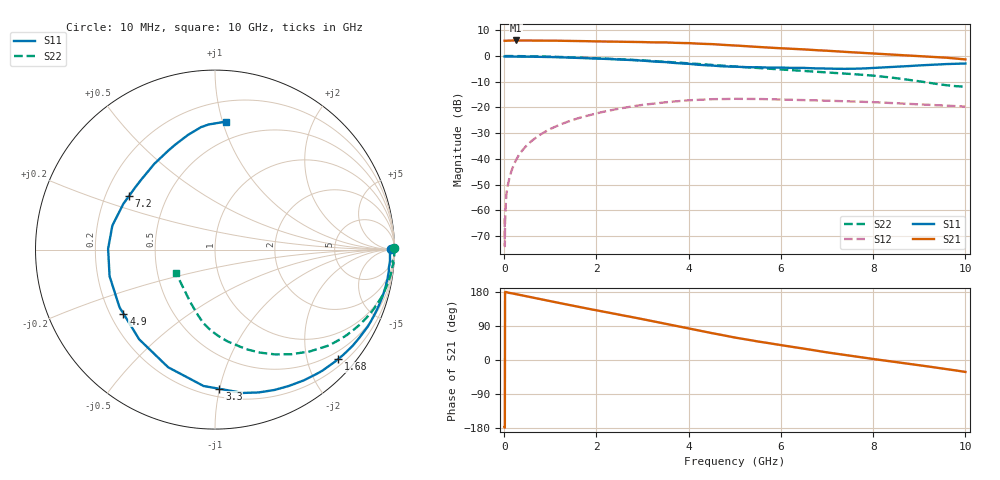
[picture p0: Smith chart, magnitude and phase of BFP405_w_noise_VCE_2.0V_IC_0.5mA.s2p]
! Infineon Technologies  Discrete & RF Semiconductors
! BFP405
! VCE =  2.0 V,  IC =  0.5 mA
! Common Emitter S-Parameters:  Jan 2016
# GHz  S  MA  R  50
!  f  S11  S21  S12  S22
! GHz  MAG  ANG  MAG  ANG  MAG  ANG  MAG  ANG
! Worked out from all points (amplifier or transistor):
!   233 points, 10 MHz to 10 GHz, reference 50 ohm
!   highest |S21| = 6.1 dB at 260 MHz (marker M1)
!   |S21| within 3 dB of that: start of sweep to 5.967 GHz
!   unconditionally stable (mu >= 1): 14.43 MHz to 15.23 MHz; 5.566 GHz to end of sweep
!   at 200 MHz: K = 0.00, MSG = 24.4 dB, |S12| = -42.7 dB
!   at 1.74 GHz: K = 0.17, MSG = 14.6 dB, |S12| = -23.5 dB
!   at 10 GHz: K = 2.42, MAG = 2.5 dB, |S12| = -19.7 dB
!   lowest NFmin = 0.78 dB at 900 MHz
!   S11 on the Smith chart (normalised r, x): 10 MHz: 85, +20; 1.68 GHz: 0.33, -2.59; 3.3 GHz: 0.26, -1.00; 4.9 GHz: 0.25, -0.30; 7.2 GHz: 0.30, +0.26; 10 GHz: 0.35, +1.02
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0.01  0.9779 0.3  1.982 -176.9  0.0007 -48.0  1 0.5
0.015  0.9784 0.0  1.979 -178.7  0.0002 10.7  0.9983 0.4
0.02  0.979 -0.2  1.979 179.4  0.0006 96.6  0.9966 0.2
0.03  0.9776 -0.6  1.979 179.3  0.0011 95.1  0.9976 -0.0
0.055  0.9751 -1.6  1.981 179.0  0.0023 93.4  0.9995 -0.5
0.135  0.9766 -3.2  1.999 176.8  0.005 89.0  0.9984 -2.0
0.26  0.9741 -6.2  2.008 173.7  0.0096 86.3  0.9914 -3.9
0.46  0.973 -11.0  2.001 168.8  0.0171 84.2  0.9916 -6.6
0.74  0.9662 -17.8  1.996 161.9  0.0279 80.2  0.9818 -10.6
1.14  0.9501 -27.8  1.986 151.8  0.0435 73.9  0.9629 -16.4
1.68  0.9185 -41.7  1.951 138.8  0.0645 64.8  0.9285 -23.6
2.54  0.8529 -65.4  1.891 118.5  0.0963 49.6  0.8635 -34.7
3.3  0.7758 -88.2  1.84 100.5  0.1205 35.2  0.7928 -44.5
3.4  0.7679 -91.5  1.838 98.0  0.1236 33.3  0.7833 -45.8
4  0.7057 -111.7  1.783 83.2  0.1377 22.0  0.7222 -53.8
4.9  0.6226 -145.0  1.622 61.7  0.1463 5.6  0.6345 -65.2
5.1  0.6141 -152.2  1.584 57.3  0.1466 2.4  0.6173 -67.5
6  0.5956 179.6  1.417 39.2  0.1431 -10.2  0.5487 -77.0
6.8  0.5737 159.0  1.294 24.1  0.1369 -18.9  0.4943 -85.6
7.2  0.5645 148.0  1.233 16.7  0.1335 -22.6  0.4681 -89.9
8.4  0.6103 115.1  1.068 -3.9  0.1216 -32.2  0.3803 -104.1
10  0.7155 85.2  0.859 -31.5  0.1039 -37.2  0.2532 -149.1
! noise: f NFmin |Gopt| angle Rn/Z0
0.9  0.78  0.8  16  0.85
1.8  1.31  0.68  35  0.8
2.4  1.61  0.59  48  0.67
3  1.86  0.58  63  0.64
4  2.16  0.46  92  0.41
5  2.4  0.46  126  0.24
